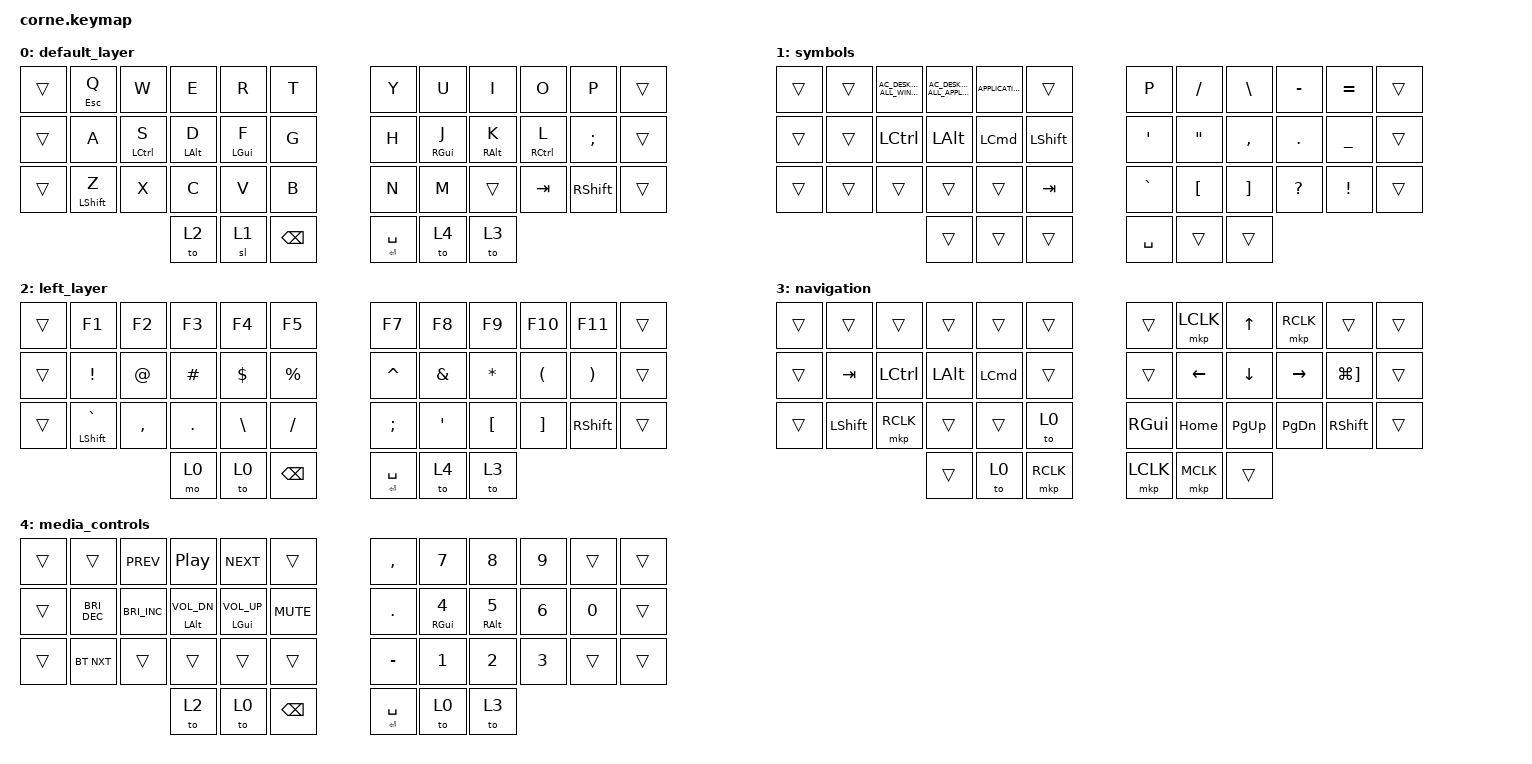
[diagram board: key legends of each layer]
/*
 * Copyright (c) 2020 The ZMK Contributors
 *
 * SPDX-License-Identifier: MIT
 */

#include <dt-bindings/zmk/mouse.h>
#include <behaviors.dtsi>
#include <dt-bindings/zmk/bt.h>
#include <dt-bindings/zmk/keys.h>
#include <dt-bindings/zmk/pointing.h>

#define U_MOUSE_SCROLL_MAX 100                    /* <--- New max speed setting (default: 10) */

#undef SCROLL_UP
#undef SCROLL_DOWN
#undef SCROLL_LEFT
#undef SCROLL_RIGHT

#define SCROLL_UP SCROLL_Y(U_MOUSE_SCROLL_MAX)
#define SCROLL_DOWN SCROLL_Y(-U_MOUSE_SCROLL_MAX)
#define SCROLL_LEFT SCROLL_X(-U_MOUSE_SCROLL_MAX)
#define SCROLL_RIGHT SCROLL_X(U_MOUSE_SCROLL_MAX)

// &msc {
//   time-to-max-speed-ms = <500>;                 /* <--- How long time until max speed is reached */
// };

&mt {
    flavor = "tap-preferred";
    tapping_term_ms = <200>;
};

/ {
    combos { compatible = "zmk,combos"; };

    behaviors {
        hm_tp: homerow_mods {
            compatible = "zmk,behavior-hold-tap";
            #binding-cells = <2>;
            tapping-term-ms = <200>;
            quick-tap-ms = <0>;
            flavor = "tap-preferred";
            bindings = <&kp>, <&kp>;
        };

        hs: homerow_shifts {
            compatible = "zmk,behavior-hold-tap";
            label = "HOMEROW_SHIFTS";
            #binding-cells = <2>;
            tapping-term-ms = <200>;
            quick_tap_ms = <0>;
            flavor = "balanced";
            bindings = <&kp>, <&kp>;
        };

        hsl: homerow_shifts_layer {
            compatible = "zmk,behavior-hold-tap";
            label = "HOMEROW_SHIFTS_LAYER";
            #binding-cells = <2>;
            tapping-term-ms = <150>;
            quick_tap_ms = <0>;
            flavor = "balanced";
            bindings = <&kp>, <&to>;
        };

        td: tapdance {
            compatible = "zmk,behavior-hold-tap";
            label = "TAPDANCE";
            #binding-cells = <2>;
            tapping-term-ms = <150>;
            quick_tap_ms = <0>;
            flavor = "tap-preferred";
            bindings = <&kp>, <&kp>;
        };

        bl: layertap {
            compatible = "zmk,behavior-hold-tap";
            label = "LAYERTAP";
            #binding-cells = <2>;
            tapping-term-ms = <150>;
            quick_tap_ms = <0>;
            flavor = "tap-preferred";
            bindings = <&to>, <&kp>;
        };
    };

    keymap {
        compatible = "zmk,keymap";

        default_layer {
            bindings = <
&trans  &hm_tp ESCAPE Q  &kp W           &kp E          &kp R          &kp T            &kp Y            &kp U          &kp I          &kp O           &kp P            &trans
&trans  &kp A            &hm_tp LCTRL S  &hm_tp LALT D  &hm_tp LGUI F  &kp G            &kp H            &hm_tp RGUI J  &hm_tp RALT K  &hm_tp RCTRL L  &kp SEMICOLON    &trans
&trans  &hm_tp LSHIFT Z  &kp X           &kp C          &kp V          &kp B            &kp N            &kp M          &trans         &kp TAB         &kp RIGHT_SHIFT  &trans
                                         &to 2          &sl 1          &kp BACKSPACE    &hs ENTER SPACE  &to 4          &to 3
            >;
        };

        symbols {
            bindings = <
&trans  &trans  &kp C_AC_DESKTOP_SHOW_ALL_WINDOWS  &kp C_AC_DESKTOP_SHOW_ALL_APPLICATIONS  &kp K_APPLICATION  &trans            &kp P             &kp SLASH          &kp BACKSLASH      &kp MINUS     &kp EQUAL  &trans
&trans  &trans  &kp LCTRL                          &kp LEFT_ALT                            &kp LEFT_COMMAND   &kp LEFT_SHIFT    &kp SINGLE_QUOTE  &kp DOUBLE_QUOTES  &kp COMMA          &kp PERIOD    &kp UNDER  &trans
&trans  &trans  &trans                             &trans                                  &trans             &kp TAB           &kp GRAVE         &kp LEFT_BRACKET   &kp RIGHT_BRACKET  &kp QUESTION  &kp EXCL   &trans
                                                   &trans                                  &trans             &trans            &kp SPACE         &trans             &trans
            >;
        };

        left_layer {
            bindings = <
&trans  &kp F1               &kp F2       &kp F3      &kp F4         &kp F5           &kp F7           &kp F8            &kp F9            &kp F10               &kp F11                &trans
&trans  &kp EXCLAMATION      &kp AT_SIGN  &kp HASH    &kp DOLLAR     &kp PERCENT      &kp CARET        &kp AMPERSAND     &kp ASTERISK      &kp LEFT_PARENTHESIS  &kp RIGHT_PARENTHESIS  &trans
&trans  &hm_tp LSHIFT GRAVE  &kp COMMA    &kp PERIOD  &kp BACKSLASH  &kp SLASH        &kp SEMICOLON    &kp SINGLE_QUOTE  &kp LEFT_BRACKET  &kp RBKT              &kp RSHIFT             &trans
                                          &mo 0       &to 0          &kp BACKSPACE    &hs ENTER SPACE  &to 4             &to 3
            >;
        };

        navigation {
            bindings = <
&trans  &trans      &trans            &trans        &trans            &trans       &trans     &mkp LCLK  &kp UP_ARROW  &mkp RCLK      &trans        &trans
&trans  &kp TAB     &kp LEFT_CONTROL  &kp LEFT_ALT  &kp LEFT_COMMAND  &trans       &trans     &kp LEFT   &kp DOWN      &kp RIGHT      &kp LG(RBKT)  &trans
&trans  &kp LSHIFT  &mkp RCLK         &trans        &trans            &to 0        &kp RGUI   &kp HOME   &kp PAGE_UP   &kp PAGE_DOWN  &kp RSHIFT    &trans
                                      &trans        &to 0             &mkp RCLK    &mkp LCLK  &mkp MCLK  &trans
            >;
        };

        media_controls {
            bindings = <
&trans  &trans                &kp C_PREV            &kp C_PLAY_PAUSE      &kp C_NEXT            &trans           &kp COMMA        &kp N7          &kp N8               &kp N9  &trans  &trans
&trans  &kp C_BRIGHTNESS_DEC  &kp C_BRIGHTNESS_INC  &hm_tp LALT C_VOL_DN  &hm_tp LGUI C_VOL_UP  &kp K_MUTE       &kp PERIOD       &hm_tp RGUI N4  &hm_tp RIGHT_ALT N5  &kp N6  &kp N0  &trans
&trans  &bt BT_NXT            &trans                &trans                &trans                &trans           &kp MINUS        &kp N1          &kp N2               &kp N3  &trans  &trans
                                                    &to 2                 &to 0                 &kp BACKSPACE    &hs ENTER SPACE  &to 0           &to 3
            >;
        };
    };
};
